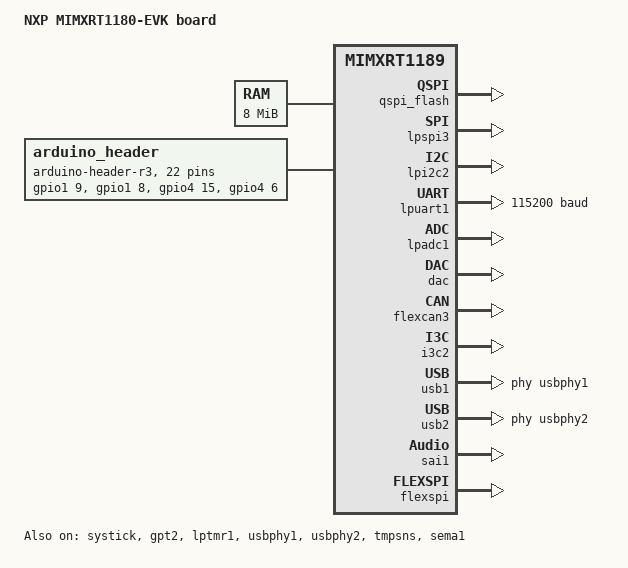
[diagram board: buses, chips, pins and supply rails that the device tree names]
/*
 * Copyright 2024-2026 NXP
 *
 * SPDX-License-Identifier: Apache-2.0
 */

/dts-v1/;

#include <nxp/imxrt/nxp_rt118x_cm33.dtsi>
#include "mimxrt1180_evk.dtsi"
#include <freq.h>
#include <zephyr/dt-bindings/gpio/arduino-header-r3.h>

/ {
	model = "NXP MIMXRT1180-EVK board";
	compatible = "nxp,mimxrt1189";

	chosen {
		zephyr,sram = &hyperram0;
		zephyr,dtcm = &dtcm;
		zephyr,itcm = &itcm;
		zephyr,flash-controller = &ext_flash_ctrl;
		zephyr,flash = &w25q128jw;
		zephyr,code-partition = &slot0_partition;
		zephyr,code-m7-partition = &slot1_partition;
		zephyr,console = &lpuart1;
		zephyr,shell-uart = &lpuart1;
		zephyr,uart-mcumgr = &lpuart1;
		zephyr,canbus = &flexcan3;
	};

	hyperram0: memory@14000000 {
		/* Winbond W957A8MFYA5K */
		device_type = "memory";
		reg = <0x14000000 DT_SIZE_M(8)>;
		zephyr,memory-attr = <DT_MEM_ARM(ATTR_MPU_RAM)>;
		/*
		 * Currently, HyperRAM on this board must be accessed under XIP mode,
		 * so that the ROM bootloader  can initialize it by reading the XMCD configuration.
		 * These XMCD configurations are stored in the default settings file
		 * `xip/evkmimxrt1180_flexspi_nor_config.c`. (If modifications are needed,
		 * please refer to the examples and the "System Boot" chapter in the
		 * RT1180 Reference Manual.)
		 * The CM33 core of the MIMXRT1180_EVK runs in XIP mode and uses the
		 * HyperRAM space as the RAM region by default. Therefore, the status of the
		 * full hyperram0 memory node is set to "okay" for cm33 core.
		 * At this point, the CM7 core can also access the HyperRAM.
		 * However, since the entire HyperRAM region is occupied in the CM33's DTS,
		 * users can allocate the HyperRAM reasonably so that both cores (CM33 and CM7)
		 * can use HyperRAM as their RAM region.
		 *
		 * If not configured by the ROM bootloader, the user must ensure the hyperram0
		 * device is enabled in the DTS, otherwise, the user must set 'status = "disabled".
		 * Note: mpu_region.c uses the status property from the DTS to configure the
		 * corresponding MPU settings.
		 */
		status = "okay";
	};

	qspi_flash: memory@38000000 {
		device_type = "memory";
		reg = <0x38000000 DT_SIZE_M(16)>;
		zephyr,memory-attr = <DT_MEM_ARM(ATTR_MPU_FLASH)>;
		status = "okay";
	};

	arduino_header: connector {
		compatible = "arduino-header-r3";
		#gpio-cells = <2>;
		gpio-map-mask = <0xffffffff 0xffffffc0>;
		gpio-map-pass-thru = <0 0x3f>;
		gpio-map = <ARDUINO_HEADER_R3_D0 0 &gpio1 9 0>,
			   <ARDUINO_HEADER_R3_D1 0 &gpio1 8 0>,
			   <ARDUINO_HEADER_R3_D2 0 &gpio4 15 0>,
			   <ARDUINO_HEADER_R3_D3 0 &gpio4 6 0>,
			   <ARDUINO_HEADER_R3_D4 0 &gpio4 12 0>,
			   <ARDUINO_HEADER_R3_D5 0 &gpio4 13 0>,
			   <ARDUINO_HEADER_R3_D6 0 &gpio4 7 0>,
			   <ARDUINO_HEADER_R3_D7 0 &gpio4 8 0>,
			   <ARDUINO_HEADER_R3_D8 0 &gpio4 3 0>,
			   <ARDUINO_HEADER_R3_D9 0 &gpio4 9 0>,
			   <ARDUINO_HEADER_R3_D10 0 &gpio5 4 0>,    /* GPIO_SD_B1_00 - SPI CS */
			   <ARDUINO_HEADER_R3_D11 0 &gpio5 6 0>,    /* GPIO_SD_B1_02 - SPI MOSI */
			   <ARDUINO_HEADER_R3_D12 0 &gpio5 7 0>,    /* GPIO_SD_B1_03 - SPI MISO */
			   <ARDUINO_HEADER_R3_D13 0 &gpio5 5 0>,    /* GPIO_SD_B1_01 - SPI SCK */
			   <ARDUINO_HEADER_R3_D14 0 &gpio4 17 0>,
			   <ARDUINO_HEADER_R3_D15 0 &gpio4 16 0>,
			   <ARDUINO_HEADER_R3_A0 0 &gpio4 10 0>,
			   <ARDUINO_HEADER_R3_A1 0 &gpio4 11 0>,
			   <ARDUINO_HEADER_R3_A2 0 &gpio4 4 0>,
			   <ARDUINO_HEADER_R3_A3 0 &gpio4 5 0>,
			   <ARDUINO_HEADER_R3_A4 0 &gpio4 17 0>,
			   <ARDUINO_HEADER_R3_A5 0 &gpio4 16 0>;
	};
};

/* Node reference overrides must be at the top level, outside the root / node */

&cpu0 {
	clock-frequency = <DT_FREQ_M(240)>;
};

arduino_spi: &lpspi3 {
	status = "okay";
};

/* Map lpi2c2 as arduino_i2c - adjust based on your board's available I2C */
arduino_i2c: &lpi2c2 {
	status = "okay";
};

&lpuart1 {
	status = "okay";
	current-speed = <115200>;
};

&lpadc1 {
	status = "okay";
};

&dac {
	status = "okay";
};

&systick {
	status = "okay";
};

&gpt2 {
	status = "okay";
};

&flexcan3 {
	status = "okay";
};

&lptmr1 {
	status = "okay";
};

&i3c2 {
	status = "okay";
};

&edma3 {
	status = "okay";
};

&edma4 {
	status = "okay";
};

zephyr_udc0: &usb1 {
	status = "okay";
	phy-handle = <&usbphy1>;
};

&usbphy1 {
	status = "okay";
	tx-d-cal = <7>;
	tx-cal-45-dp-ohms = <6>;
	tx-cal-45-dm-ohms = <6>;
};

zephyr_udc1: &usb2 {
	status = "okay";
	phy-handle = <&usbphy2>;
};

&usbphy2 {
	status = "okay";
	tx-d-cal = <7>;
	tx-cal-45-dp-ohms = <6>;
	tx-cal-45-dm-ohms = <6>;
};

temp_sensor: &tmpsns {
	status = "okay";
};

&sai1 {
	status = "okay";
};

&flexspi {
	status = "okay";
};

&sema1 {
	domain-id = <8>;
	status = "okay";
};
